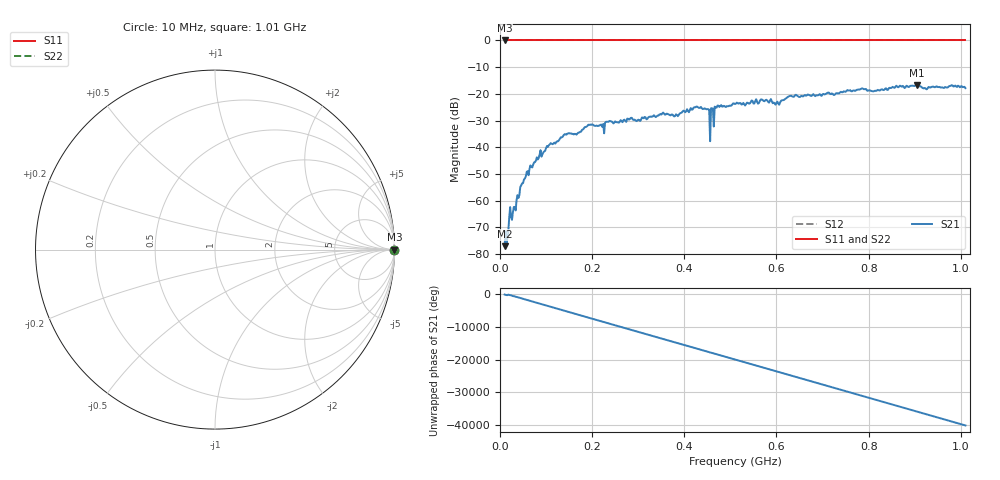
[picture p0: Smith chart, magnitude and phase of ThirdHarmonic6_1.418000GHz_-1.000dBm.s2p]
! 8/16/2025 4:17:44 PM
! C:\ANRITSUVNA\TEMP\TEMP.S2P
! CHANNEL.1
! TR.MEASUREMENT
! RAW.DATA
! RF.CORRECTION.OFF
! AVERAGING.OFF
! IF.BANDWIDTH: 5KHZ
! SWEEPTYPE:  FREQ.SWEEP(Linear)
! Reference Plane Port Info
! PORT:  PORT1  PORT2
! DISTANCE:  0  m  0  m
! TIME:  0  s  0  s
! PHASE.OFFSET:  0  deg.  0  deg.
! LOSS:  0  dB  0  dB
! REF.LOSS:  0  dB  0  dB
! REF.FREQ:  0  Hz  0  Hz
! Power Info
! POWER:  -20  dBm  -20  dBm
! EFF.POWER:  -20  dBm  -20  dBm
! SOURCE.ATTEN:  0  dB  0  dB
! TEST.ATTEN:  0  dB  0  dB
# GHZ S RI R 50.0
! FREQ.GHZ  S11RE  S11IM  S21RE  S21IM  S12RE  S12IM  S22RE  S22IM
!; PortSelection: Port_12
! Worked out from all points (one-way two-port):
!   501 points, 10 MHz to 1.01 GHz, reference 50 ohm
!   highest |S21| = -16.68 dB at 904 MHz (marker M1); lowest = -77.0 dB at 10 MHz (marker M2)
!   lowest |S11| = 0.0 dB at 10 MHz (marker M3)
!   |S11| at or under -10 dB: nowhere
!   |S22| runs from 0.0 to 0.0 dB; largest |S21 - S12| = 1.1
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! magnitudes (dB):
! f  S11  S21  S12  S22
! 10 MHz  0.0  -77.0  0.0  0.0
! 24 MHz  0.0  -66.1  0.0  0.0
! 62 MHz  0.0  -50.5  0.0  0.0
! 106 MHz  0.0  -39.2  0.0  0.0
! 178 MHz  0.0  -33.5  0.0  0.0
! 196 MHz  0.0  -31.5  0.0  0.0
! 222 MHz  0.0  -32.4  0.0  0.0
! 344 MHz  0.0  -28.1  0.0  0.0
! 382 MHz  0.0  -27.6  0.0  0.0
! 426 MHz  0.0  -24.8  0.0  0.0
! 450 MHz  0.0  -25.7  0.0  0.0
! 452 MHz  0.0  -25.8  0.0  0.0
! 460 MHz  0.0  -25.5  0.0  0.0
! 462 MHz  0.0  -25.4  0.0  0.0
! 470 MHz  0.0  -25.1  0.0  0.0
! 510 MHz  0.0  -23.8  0.0  0.0
! 602 MHz  0.0  -22.9  0.0  0.0
! 628 MHz  0.0  -20.9  0.0  0.0
! 678 MHz  0.0  -20.4  0.0  0.0
! 844 MHz  0.0  -17.9  0.0  0.0
! 904 MHz  0.0  -16.7  0.0  0.0
! 1.01 GHz  0.0  -17.8  0.0  0.0
